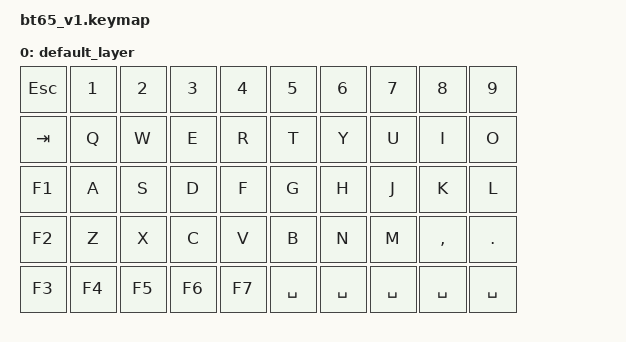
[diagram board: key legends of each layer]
#include <behaviors.dtsi>
#include <dt-bindings/zmk/keys.h>

/ {
    keymap {
        compatible = "zmk,keymap";

        default_layer {
            bindings = <
                
                &kp ESC    &kp 1    &kp 2    &kp 3    &kp 4    &kp 5      &kp 6      &kp 7      &kp 8       &kp 9              
                &kp TAB    &kp Q    &kp W    &kp E    &kp R    &kp T      &kp Y      &kp U      &kp I       &kp O              
                &kp F1     &kp A    &kp S    &kp D    &kp F    &kp G      &kp H      &kp J      &kp K       &kp L           
                &kp F2     &kp Z    &kp X    &kp C    &kp V    &kp B      &kp N      &kp M      &kp COMMA   &kp DOT             
                &kp F3     &kp F4   &kp F5   &kp F6   &kp F7   &kp SPACE  &kp SPACE  &kp SPACE  &kp SPACE   &kp SPACE
            >;
        };
    };
};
